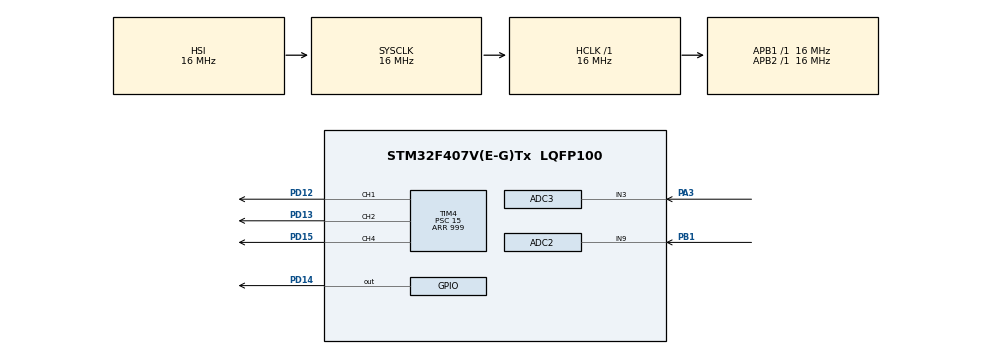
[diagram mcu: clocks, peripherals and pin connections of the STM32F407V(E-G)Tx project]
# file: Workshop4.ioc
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ADC1.Channel-3\#ChannelRegularConversion=ADC_CHANNEL_TEMPSENSOR
ADC1.ClockPrescaler=ADC_CLOCK_SYNC_PCLK_DIV8
ADC1.ContinuousConvMode=ENABLE
ADC1.NbrOfConversionFlag=1
ADC1.Rank-3\#ChannelRegularConversion=1
ADC1.SamplingTime-3\#ChannelRegularConversion=ADC_SAMPLETIME_480CYCLES
ADC1.master=1
ADC2.Channel-0\#ChannelRegularConversion=ADC_CHANNEL_9
ADC2.ClockPrescaler=ADC_CLOCK_SYNC_PCLK_DIV8
ADC2.NbrOfConversionFlag=1
ADC2.Rank-0\#ChannelRegularConversion=1
ADC2.SamplingTime-0\#ChannelRegularConversion=ADC_SAMPLETIME_480CYCLES
ADC3.Channel-0\#ChannelRegularConversion=ADC_CHANNEL_3
ADC3.ClockPrescaler=ADC_CLOCK_SYNC_PCLK_DIV8
ADC3.NbrOfConversionFlag=1
ADC3.Rank-0\#ChannelRegularConversion=1
ADC3.SamplingTime-0\#ChannelRegularConversion=ADC_SAMPLETIME_480CYCLES
Mcu.Family=STM32F4
Mcu.Name=STM32F407V(E-G)Tx
Mcu.Package=LQFP100
NVIC.PriorityGroup=NVIC_PRIORITYGROUP_4
NVIC.TIM5_IRQn=true\:0\:0\:false\:false\:true\:true\:true
PA3.Signal=ADCx_IN3
PB1.Signal=ADCx_IN9
PD12.Signal=S_TIM4_CH1
PD13.Signal=S_TIM4_CH2
PD14.GPIO_PuPd=GPIO_PULLDOWN
PD14.Signal=GPIO_Output
PD15.Signal=S_TIM4_CH4
ProjectManager.HeapSize=0x200
ProjectManager.StackSize=0x400
ProjectManager.TargetToolchain=STM32CubeIDE
RCC.AHBFreq_Value=16000000
RCC.APB1Freq_Value=16000000
RCC.APB2Freq_Value=16000000
RCC.CortexFreq_Value=16000000
RCC.HSE_VALUE=25000000
RCC.HSI_VALUE=16000000
RCC.LSE_VALUE=32768
RCC.SYSCLKFreq_VALUE=16000000
RCC.VCOOutputFreq_Value=192000000
SH.ADCx_IN3.0=ADC3_IN3,IN3
SH.ADCx_IN9.0=ADC2_IN9,IN9
SH.S_TIM4_CH1.0=TIM4_CH1,PWM Generation1 CH1
SH.S_TIM4_CH2.0=TIM4_CH2,PWM Generation2 CH2
SH.S_TIM4_CH4.0=TIM4_CH4,PWM Generation4 CH4
TIM4.Channel-PWM\ Generation1\ CH1=TIM_CHANNEL_1
TIM4.Channel-PWM\ Generation2\ CH2=TIM_CHANNEL_2
TIM4.Channel-PWM\ Generation4\ CH4=TIM_CHANNEL_4
TIM4.Period=999
TIM4.Prescaler=15
TIM4.Pulse-PWM\ Generation2\ CH2=0
TIM4.Pulse-PWM\ Generation4\ CH4=0
TIM5.AutoReloadPreload=TIM_AUTORELOAD_PRELOAD_DISABLE
TIM5.Period=10
TIM5.Prescaler=15999
VP_ADC1_TempSens_Input.Mode=IN-TempSens
VP_TIM4_VS_ClockSourceINT.Mode=Internal
VP_TIM5_VS_ClockSourceINT.Mode=Internal
board=custom

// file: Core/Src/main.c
/* USER CODE BEGIN Header */
/**
  ******************************************************************************
  * @file           : main.c
  * @brief          : Main program body
  ******************************************************************************
  * @attention
  *
  * <h2><center>&copy; Copyright (c) 2021 STMicroelectronics.
  * All rights reserved.</center></h2>
  *
  * This software component is licensed by ST under BSD 3-Clause license,
  * the "License"; You may not use this file except in compliance with the
  * License. You may obtain a copy of the License at:
  *                        opensource.org/licenses/BSD-3-Clause
  *
  ******************************************************************************
  */
/* USER CODE END Header */
#include "main.h"

/* USER CODE BEGIN Includes */

#define NUMOFADCS 3
#define MIN(a,b) (((a) <(b)) ? (a) : (b))
#define MAX(a,b) (((a) > (b)) ? (a) : (b))

/* USER CODE END Includes */

ADC_HandleTypeDef hadc1;
ADC_HandleTypeDef hadc2;
ADC_HandleTypeDef hadc3;

TIM_HandleTypeDef htim4;
TIM_HandleTypeDef htim5;

void SystemClock_Config(void);
static void MX_GPIO_Init(void);
static void MX_ADC1_Init(void);
static void MX_ADC2_Init(void);
static void MX_ADC3_Init(void);
static void MX_TIM4_Init(void);
static void MX_TIM5_Init(void);

/* USER CODE BEGIN 0 */

// 1 and 2 underArray values are produced by ADC's 1 and 2 when sensors hitting room temperature and
// maximum temperature I could reach
// third underArray values are produced by ADC3 when potentiometer is turned maximum left or right
const int16_t specificADCValues [NUMOFADCS][2] = {{1055, 1080}, {2060, 1700}, {0, 4100}};

HAL_StatusTypeDef adcPollResults [NUMOFADCS];
ADC_HandleTypeDef hadcArray [NUMOFADCS];

// repeats for more stable signal, as ADC's not provide stable output, I add a few of them and divide to get average
int8_t repeat [NUMOFADCS];
const int8_t maxRepeats = 10;
int32_t newDutyCycles [NUMOFADCS];

const int8_t emergencyPercent = 50;
uint8_t emergencies [NUMOFADCS];

void updateEmergency()
{
	uint8_t sum = 0;
	for (int8_t i = 0; i < NUMOFADCS; i++)
	{
		sum += emergencies[i];
	}
	switch (sum)
	{
	case 0:	// no emergency mode
		if (HAL_GPIO_ReadPin(GPIOD, GPIO_PIN_14) == GPIO_PIN_SET)
			HAL_GPIO_WritePin(GPIOD, GPIO_PIN_14, GPIO_PIN_RESET);
		TIM5->ARR = 10;
		return;
	case 1:	// 1 Hz
		TIM5->ARR = 499;
		break;
	case 2:	// 2.5 Hz
		TIM5->ARR = 199;
		break;
	case 3:	// 5 Hz
		TIM5->ARR = 99;
		break;
	}

	HAL_GPIO_TogglePin(GPIOD, GPIO_PIN_14);
}

void setDutyCycle(int8_t ADCnumber, int16_t value)
{
	if (ADCnumber >= 0 && ADCnumber < NUMOFADCS)
	{
		if (value >= MIN(specificADCValues[ADCnumber][0], specificADCValues[ADCnumber][1]) &&
				value <= MAX(specificADCValues[ADCnumber][0], specificADCValues[ADCnumber][1]))
		{	// if parameters are ok

			int16_t rangeMax = specificADCValues[ADCnumber][1] - specificADCValues[ADCnumber][0];
			// now range is [0 - rangeMax] (or [-rangeMax - 0] if range was decreasing)

			int16_t newValue = value - specificADCValues[ADCnumber][0];
			// now new value is between 0 and maxRange

			newDutyCycles[ADCnumber] += (((int)TIM4->ARR + 1) * newValue) / rangeMax;

			if (repeat[ADCnumber] == maxRepeats)
			{
				switch(ADCnumber + 1)
				{
				case 1:	// internal temp - orange color
					TIM4->CCR2 = newDutyCycles[ADCnumber] / maxRepeats;
					break;
				case 2:	// external temp - green color
					TIM4->CCR1 = newDutyCycles[ADCnumber] / maxRepeats;
					break;
				case 3:	// potentiometer - blue color
					TIM4->CCR4 = newDutyCycles[ADCnumber] / maxRepeats;
					break;
				default:
					break;
				}

				emergencies[ADCnumber] = (newDutyCycles[ADCnumber] /
						maxRepeats) > (emergencyPercent * (int)TIM4->ARR / 100) ? 1 : 0;

				newDutyCycles[ADCnumber] = 0;
				repeat[ADCnumber] = 0;
			}

			repeat[ADCnumber]++;
		}
	}
}

/* USER CODE END 0 */

int main(void)
{

  /* MCU Configuration--------------------------------------------------------*/

  /* Reset of all peripherals, Initializes the Flash interface and the Systick. */
  HAL_Init();

  /* Configure the system clock */
  SystemClock_Config();

  /* Initialize all configured peripherals */
  MX_GPIO_Init();
  MX_ADC1_Init();
  MX_ADC2_Init();
  MX_ADC3_Init();
  MX_TIM4_Init();
  MX_TIM5_Init();
  /* USER CODE BEGIN 2 */

  HAL_TIM_Base_Start_IT(&htim4);
  HAL_TIM_Base_Start_IT(&htim5);
  HAL_TIM_PWM_Start(&htim4, TIM_CHANNEL_1);
  HAL_TIM_PWM_Start(&htim4, TIM_CHANNEL_2);
  HAL_TIM_PWM_Start(&htim4, TIM_CHANNEL_4);

  hadcArray[0] = hadc1;
  hadcArray[1] = hadc2;
  hadcArray[2] = hadc3;

  for (int8_t i = 0; i < NUMOFADCS; i++)
	  HAL_ADC_Start(&hadcArray[i]);

  /* USER CODE END 2 */

  /* Infinite loop */
  /* USER CODE BEGIN WHILE */

  while (1)
  {
	  for (int8_t i = 0; i < NUMOFADCS; i++)
	  {
		  if (HAL_ADC_PollForConversion(&hadcArray[i], 100) == HAL_OK)
		  {
			  setDutyCycle(i, HAL_ADC_GetValue(&hadcArray[i]));
		  }
	  }

    /* USER CODE END WHILE */

  }
}

void SystemClock_Config(void)
{
  RCC_OscInitTypeDef RCC_OscInitStruct = {0};
  RCC_ClkInitTypeDef RCC_ClkInitStruct = {0};

  /** Configure the main internal regulator output voltage
  */
  __HAL_RCC_PWR_CLK_ENABLE();
  __HAL_PWR_VOLTAGESCALING_CONFIG(PWR_REGULATOR_VOLTAGE_SCALE1);
  /** Initializes the RCC Oscillators according to the specified parameters
  * in the RCC_OscInitTypeDef structure.
  */
  RCC_OscInitStruct.OscillatorType = RCC_OSCILLATORTYPE_HSI;
  RCC_OscInitStruct.HSIState = RCC_HSI_ON;
  RCC_OscInitStruct.HSICalibrationValue = RCC_HSICALIBRATION_DEFAULT;
  RCC_OscInitStruct.PLL.PLLState = RCC_PLL_NONE;
  if (HAL_RCC_OscConfig(&RCC_OscInitStruct) != HAL_OK)
  {
    Error_Handler();
  }
  /** Initializes the CPU, AHB and APB buses clocks
  */
  RCC_ClkInitStruct.ClockType = RCC_CLOCKTYPE_HCLK|RCC_CLOCKTYPE_SYSCLK
                              |RCC_CLOCKTYPE_PCLK1|RCC_CLOCKTYPE_PCLK2;
  RCC_ClkInitStruct.SYSCLKSource = RCC_SYSCLKSOURCE_HSI;
  RCC_ClkInitStruct.AHBCLKDivider = RCC_SYSCLK_DIV1;
  RCC_ClkInitStruct.APB1CLKDivider = RCC_HCLK_DIV1;
  RCC_ClkInitStruct.APB2CLKDivider = RCC_HCLK_DIV1;

  if (HAL_RCC_ClockConfig(&RCC_ClkInitStruct, FLASH_LATENCY_0) != HAL_OK)
  {
    Error_Handler();
  }
}

static void MX_ADC1_Init(void)
{

  ADC_ChannelConfTypeDef sConfig = {0};

  /** Configure the global features of the ADC (Clock, Resolution, Data Alignment and number of conversion)
  */
  hadc1.Instance = ADC1;
  hadc1.Init.ClockPrescaler = ADC_CLOCK_SYNC_PCLK_DIV8;
  hadc1.Init.Resolution = ADC_RESOLUTION_12B;
  hadc1.Init.ScanConvMode = DISABLE;
  hadc1.Init.ContinuousConvMode = ENABLE;
  hadc1.Init.DiscontinuousConvMode = DISABLE;
  hadc1.Init.ExternalTrigConvEdge = ADC_EXTERNALTRIGCONVEDGE_NONE;
  hadc1.Init.ExternalTrigConv = ADC_SOFTWARE_START;
  hadc1.Init.DataAlign = ADC_DATAALIGN_RIGHT;
  hadc1.Init.NbrOfConversion = 1;
  hadc1.Init.DMAContinuousRequests = DISABLE;
  hadc1.Init.EOCSelection = ADC_EOC_SINGLE_CONV;
  if (HAL_ADC_Init(&hadc1) != HAL_OK)
  {
    Error_Handler();
  }
  /** Configure for the selected ADC regular channel its corresponding rank in the sequencer and its sample time.
  */
  sConfig.Channel = ADC_CHANNEL_TEMPSENSOR;
  sConfig.Rank = 1;
  sConfig.SamplingTime = ADC_SAMPLETIME_480CYCLES;
  if (HAL_ADC_ConfigChannel(&hadc1, &sConfig) != HAL_OK)
  {
    Error_Handler();
  }

}

static void MX_ADC2_Init(void)
{

  ADC_ChannelConfTypeDef sConfig = {0};

  /** Configure the global features of the ADC (Clock, Resolution, Data Alignment and number of conversion)
  */
  hadc2.Instance = ADC2;
  hadc2.Init.ClockPrescaler = ADC_CLOCK_SYNC_PCLK_DIV8;
  hadc2.Init.Resolution = ADC_RESOLUTION_12B;
  hadc2.Init.ScanConvMode = DISABLE;
  hadc2.Init.ContinuousConvMode = ENABLE;
  hadc2.Init.DiscontinuousConvMode = DISABLE;
  hadc2.Init.ExternalTrigConvEdge = ADC_EXTERNALTRIGCONVEDGE_NONE;
  hadc2.Init.ExternalTrigConv = ADC_SOFTWARE_START;
  hadc2.Init.DataAlign = ADC_DATAALIGN_RIGHT;
  hadc2.Init.NbrOfConversion = 1;
  hadc2.Init.DMAContinuousRequests = DISABLE;
  hadc2.Init.EOCSelection = ADC_EOC_SINGLE_CONV;
  if (HAL_ADC_Init(&hadc2) != HAL_OK)
  {
    Error_Handler();
  }
  /** Configure for the selected ADC regular channel its corresponding rank in the sequencer and its sample time.
  */
  sConfig.Channel = ADC_CHANNEL_9;
  sConfig.Rank = 1;
  sConfig.SamplingTime = ADC_SAMPLETIME_480CYCLES;
  if (HAL_ADC_ConfigChannel(&hadc2, &sConfig) != HAL_OK)
  {
    Error_Handler();
  }

}

static void MX_ADC3_Init(void)
{

  ADC_ChannelConfTypeDef sConfig = {0};

  /** Configure the global features of the ADC (Clock, Resolution, Data Alignment and number of conversion)
  */
  hadc3.Instance = ADC3;
  hadc3.Init.ClockPrescaler = ADC_CLOCK_SYNC_PCLK_DIV8;
  hadc3.Init.Resolution = ADC_RESOLUTION_12B;
  hadc3.Init.ScanConvMode = DISABLE;
  hadc3.Init.ContinuousConvMode = ENABLE;
  hadc3.Init.DiscontinuousConvMode = DISABLE;
  hadc3.Init.ExternalTrigConvEdge = ADC_EXTERNALTRIGCONVEDGE_NONE;
  hadc3.Init.ExternalTrigConv = ADC_SOFTWARE_START;
  hadc3.Init.DataAlign = ADC_DATAALIGN_RIGHT;
  hadc3.Init.NbrOfConversion = 1;
  hadc3.Init.DMAContinuousRequests = DISABLE;
  hadc3.Init.EOCSelection = ADC_EOC_SINGLE_CONV;
  if (HAL_ADC_Init(&hadc3) != HAL_OK)
  {
    Error_Handler();
  }
  /** Configure for the selected ADC regular channel its corresponding rank in the sequencer and its sample time.
  */
  sConfig.Channel = ADC_CHANNEL_3;
  sConfig.Rank = 1;
  sConfig.SamplingTime = ADC_SAMPLETIME_480CYCLES;
  if (HAL_ADC_ConfigChannel(&hadc3, &sConfig) != HAL_OK)
  {
    Error_Handler();
  }

}

static void MX_TIM4_Init(void)
{

  TIM_ClockConfigTypeDef sClockSourceConfig = {0};
  TIM_MasterConfigTypeDef sMasterConfig = {0};
  TIM_OC_InitTypeDef sConfigOC = {0};

  htim4.Instance = TIM4;
  htim4.Init.Prescaler = 15;
  htim4.Init.CounterMode = TIM_COUNTERMODE_UP;
  htim4.Init.Period = 999;
  htim4.Init.ClockDivision = TIM_CLOCKDIVISION_DIV1;
  htim4.Init.AutoReloadPreload = TIM_AUTORELOAD_PRELOAD_DISABLE;
  if (HAL_TIM_Base_Init(&htim4) != HAL_OK)
  {
    Error_Handler();
  }
  sClockSourceConfig.ClockSource = TIM_CLOCKSOURCE_INTERNAL;
  if (HAL_TIM_ConfigClockSource(&htim4, &sClockSourceConfig) != HAL_OK)
  {
    Error_Handler();
  }
  if (HAL_TIM_PWM_Init(&htim4) != HAL_OK)
  {
    Error_Handler();
  }
  sMasterConfig.MasterOutputTrigger = TIM_TRGO_RESET;
  sMasterConfig.MasterSlaveMode = TIM_MASTERSLAVEMODE_DISABLE;
  if (HAL_TIMEx_MasterConfigSynchronization(&htim4, &sMasterConfig) != HAL_OK)
  {
    Error_Handler();
  }
  sConfigOC.OCMode = TIM_OCMODE_PWM1;
  sConfigOC.Pulse = 0;
  sConfigOC.OCPolarity = TIM_OCPOLARITY_HIGH;
  sConfigOC.OCFastMode = TIM_OCFAST_DISABLE;
  if (HAL_TIM_PWM_ConfigChannel(&htim4, &sConfigOC, TIM_CHANNEL_1) != HAL_OK)
  {
    Error_Handler();
  }
  if (HAL_TIM_PWM_ConfigChannel(&htim4, &sConfigOC, TIM_CHANNEL_2) != HAL_OK)
  {
    Error_Handler();
  }
  if (HAL_TIM_PWM_ConfigChannel(&htim4, &sConfigOC, TIM_CHANNEL_4) != HAL_OK)
  {
    Error_Handler();
  }
  HAL_TIM_MspPostInit(&htim4);

}

static void MX_TIM5_Init(void)
{

  TIM_ClockConfigTypeDef sClockSourceConfig = {0};
  TIM_MasterConfigTypeDef sMasterConfig = {0};

  htim5.Instance = TIM5;
  htim5.Init.Prescaler = 15999;
  htim5.Init.CounterMode = TIM_COUNTERMODE_UP;
  htim5.Init.Period = 10;
  htim5.Init.ClockDivision = TIM_CLOCKDIVISION_DIV1;
  htim5.Init.AutoReloadPreload = TIM_AUTORELOAD_PRELOAD_DISABLE;
  if (HAL_TIM_Base_Init(&htim5) != HAL_OK)
  {
    Error_Handler();
  }
  sClockSourceConfig.ClockSource = TIM_CLOCKSOURCE_INTERNAL;
  if (HAL_TIM_ConfigClockSource(&htim5, &sClockSourceConfig) != HAL_OK)
  {
    Error_Handler();
  }
  sMasterConfig.MasterOutputTrigger = TIM_TRGO_RESET;
  sMasterConfig.MasterSlaveMode = TIM_MASTERSLAVEMODE_DISABLE;
  if (HAL_TIMEx_MasterConfigSynchronization(&htim5, &sMasterConfig) != HAL_OK)
  {
    Error_Handler();
  }

}

static void MX_GPIO_Init(void)
{
  GPIO_InitTypeDef GPIO_InitStruct = {0};

  /* GPIO Ports Clock Enable */
  __HAL_RCC_GPIOA_CLK_ENABLE();
  __HAL_RCC_GPIOB_CLK_ENABLE();
  __HAL_RCC_GPIOD_CLK_ENABLE();

  /*Configure GPIO pin Output Level */
  HAL_GPIO_WritePin(GPIOD, GPIO_PIN_14, GPIO_PIN_RESET);

  /*Configure GPIO pin : PD14 */
  GPIO_InitStruct.Pin = GPIO_PIN_14;
  GPIO_InitStruct.Mode = GPIO_MODE_OUTPUT_PP;
  GPIO_InitStruct.Pull = GPIO_PULLDOWN;
  GPIO_InitStruct.Speed = GPIO_SPEED_FREQ_LOW;
  HAL_GPIO_Init(GPIOD, &GPIO_InitStruct);

}

/* USER CODE BEGIN 4 */

void HAL_TIM_PeriodElapsedCallback(TIM_HandleTypeDef *htim)
{
	updateEmergency();
}

/* USER CODE END 4 */

void Error_Handler(void)
{
  __disable_irq();
  while (1)
  {
  }
}

/************************ (C) COPYRIGHT STMicroelectronics *****END OF FILE****/
